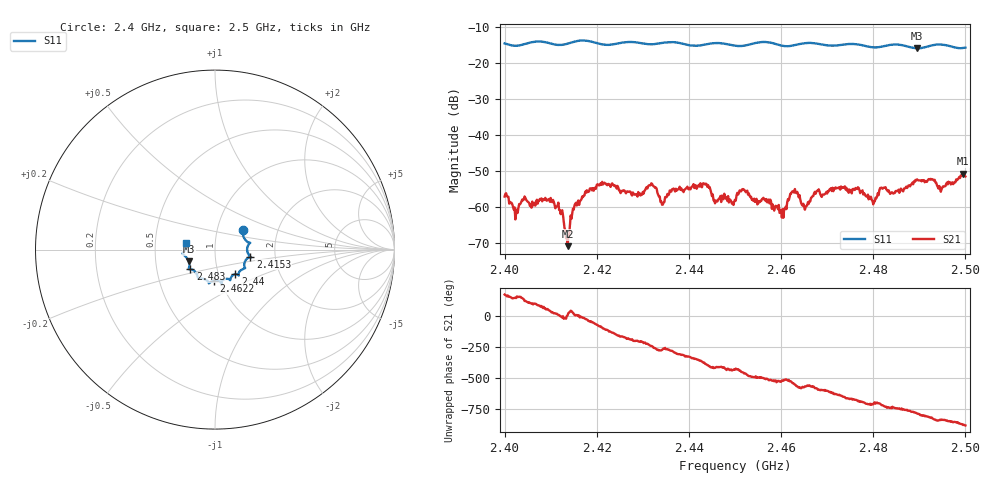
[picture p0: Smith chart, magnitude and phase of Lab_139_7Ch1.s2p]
# Hz S RI R 50
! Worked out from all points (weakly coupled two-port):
!   601 points, 2.4 GHz to 2.5 GHz, reference 50 ohm
!   highest |S21| = -50.79 dB at 2.4995 GHz (marker M1); lowest = -71.0 dB at 2.4137 GHz (marker M2)
!   lowest |S11| = -15.9 dB at 2.4895 GHz (marker M3), VSWR 1.38, Z = 36.9 - j5 ohm
!   |S11| at or under -10 dB: start of sweep to end of sweep
!   S12 and S22 are empty: the file has one direction only
!   S11 on the Smith chart (normalised r, x): 2.4 GHz: 1.33, +0.29; 2.4153 GHz: 1.48, -0.12; 2.44 GHz: 1.20, -0.34; 2.4622 GHz: 0.93, -0.33; 2.483 GHz: 0.74, -0.17; 2.5 GHz: 0.72, +0.06
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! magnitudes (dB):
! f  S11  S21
! 2.4 GHz  -14.5  -57.2
! 2.4025 GHz  -15.2  -61.8
! 2.4102 GHz  -14.6  -58.5
! 2.4122 GHz  -14.9  -62.1
! 2.4137 GHz  -14.6  -71.0
! 2.4153 GHz  -14.0  -59.2
! 2.4167 GHz  -13.7  -58.0
! 2.4213 GHz  -14.8  -53.8
! 2.4333 GHz  -14.6  -56.7
! 2.44 GHz  -15.0  -55.2
! 2.45 GHz  -15.1  -58.1
! 2.4522 GHz  -15.1  -55.5
! 2.4602 GHz  -15.1  -63.0
! 2.4622 GHz  -15.2  -56.4
! 2.4652 GHz  -14.4  -60.8
! 2.4667 GHz  -14.4  -57.3
! 2.483 GHz  -15.1  -55.4
! 2.4833 GHz  -15.0  -55.4
! 2.4895 GHz  -15.9  -52.4
! 2.4947 GHz  -14.8  -55.8
! 2.4995 GHz  -15.8  -50.8
! 2.5 GHz  -15.7  -51.6
